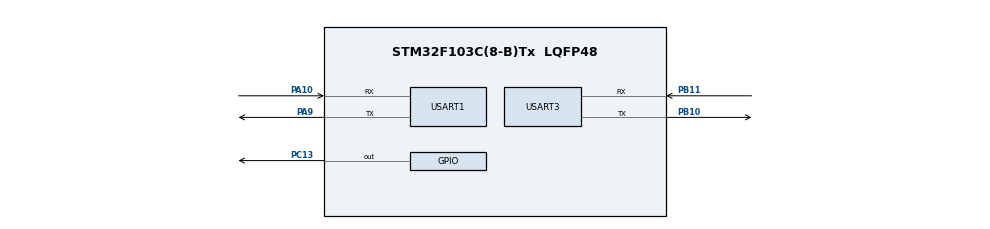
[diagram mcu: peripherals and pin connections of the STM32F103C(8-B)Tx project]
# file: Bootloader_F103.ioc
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Mcu.Family=STM32F1
Mcu.Name=STM32F103C(8-B)Tx
Mcu.Package=LQFP48
NVIC.PriorityGroup=NVIC_PRIORITYGROUP_4
PA10.Mode=Asynchronous
PA10.Signal=USART1_RX
PA9.Mode=Asynchronous
PA9.Signal=USART1_TX
PB10.Mode=Asynchronous
PB10.Signal=USART3_TX
PB11.Mode=Asynchronous
PB11.Signal=USART3_RX
PC13-TAMPER-RTC.Signal=GPIO_Output
ProjectManager.HeapSize=0x200
ProjectManager.StackSize=0x400
ProjectManager.TargetToolchain=STM32CubeIDE
RCC.APB1Freq_Value=8000000
RCC.APB2Freq_Value=8000000
USART1.VirtualMode=VM_ASYNC
USART3.VirtualMode=VM_ASYNC
board=custom

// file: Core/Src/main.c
/* USER CODE BEGIN Header */
/**
  ******************************************************************************
  * @file           : main.c
  * @brief          : Main program body
  ******************************************************************************
  * @attention
  *
  * Copyright (c) 2023 STMicroelectronics.
  * All rights reserved.
  *
  * This software is licensed under terms that can be found in the LICENSE file
  * in the root directory of this software component.
  * If no LICENSE file comes with this software, it is provided AS-IS.
  *
  ******************************************************************************
  */
/* USER CODE END Header */
#include "main.h"

/* USER CODE BEGIN Includes */
#include <stdio.h>
#include <string.h>
#include <stdbool.h>
/* USER CODE END Includes */

/* USER CODE BEGIN PD */
#define MAX_BLOCK_SIZE          ( 1024 )                  //1KB
#define ETX_APP_START_ADDRESS   0x08004400
/* USER CODE END PD */

/* USER CODE BEGIN PM */
#define MAJOR 1
#define MINOR 0
/* USER CODE END PM */

UART_HandleTypeDef huart1;
UART_HandleTypeDef huart3;

/* USER CODE BEGIN PV */
uint8_t BL_Version[2] = { MAJOR, MINOR };
uint16_t application_size = 0;
uint16_t application_write_idx = 0;
/* USER CODE END PV */

void SystemClock_Config(void);
static void MX_GPIO_Init(void);
static void MX_USART1_UART_Init(void);
static void MX_USART3_UART_Init(void);
/* USER CODE BEGIN PFP */
static void goto_application( void );
static void Firmware_Update( void );
/* USER CODE END PFP */

int main(void)
{

  /* MCU Configuration--------------------------------------------------------*/

  /* Reset of all peripherals, Initializes the Flash interface and the Systick. */
  HAL_Init();

  /* Configure the system clock */
  SystemClock_Config();

  /* Initialize all configured peripherals */
  MX_GPIO_Init();
  MX_USART1_UART_Init();
  MX_USART3_UART_Init();
  /* USER CODE BEGIN 2 */
  printf("Bootloader v%d:%d Started!!!\n", BL_Version[0], BL_Version[1]);
  /* USER CODE END 2 */

  /* Infinite loop */
  /* USER CODE BEGIN WHILE */

  Firmware_Update();

  // Jump to application
  goto_application();

  while (1)
  {
    /* USER CODE END WHILE */

  }
}

void SystemClock_Config(void)
{
  RCC_OscInitTypeDef RCC_OscInitStruct = {0};
  RCC_ClkInitTypeDef RCC_ClkInitStruct = {0};

  /** Initializes the RCC Oscillators according to the specified parameters
  * in the RCC_OscInitTypeDef structure.
  */
  RCC_OscInitStruct.OscillatorType = RCC_OSCILLATORTYPE_HSI;
  RCC_OscInitStruct.HSIState = RCC_HSI_ON;
  RCC_OscInitStruct.HSICalibrationValue = RCC_HSICALIBRATION_DEFAULT;
  RCC_OscInitStruct.PLL.PLLState = RCC_PLL_NONE;
  if (HAL_RCC_OscConfig(&RCC_OscInitStruct) != HAL_OK)
  {
    Error_Handler();
  }

  /** Initializes the CPU, AHB and APB buses clocks
  */
  RCC_ClkInitStruct.ClockType = RCC_CLOCKTYPE_HCLK|RCC_CLOCKTYPE_SYSCLK
                              |RCC_CLOCKTYPE_PCLK1|RCC_CLOCKTYPE_PCLK2;
  RCC_ClkInitStruct.SYSCLKSource = RCC_SYSCLKSOURCE_HSI;
  RCC_ClkInitStruct.AHBCLKDivider = RCC_SYSCLK_DIV1;
  RCC_ClkInitStruct.APB1CLKDivider = RCC_HCLK_DIV1;
  RCC_ClkInitStruct.APB2CLKDivider = RCC_HCLK_DIV1;

  if (HAL_RCC_ClockConfig(&RCC_ClkInitStruct, FLASH_LATENCY_0) != HAL_OK)
  {
    Error_Handler();
  }
}

static void MX_USART1_UART_Init(void)
{

  huart1.Instance = USART1;
  huart1.Init.BaudRate = 115200;
  huart1.Init.WordLength = UART_WORDLENGTH_8B;
  huart1.Init.StopBits = UART_STOPBITS_1;
  huart1.Init.Parity = UART_PARITY_NONE;
  huart1.Init.Mode = UART_MODE_TX_RX;
  huart1.Init.HwFlowCtl = UART_HWCONTROL_NONE;
  huart1.Init.OverSampling = UART_OVERSAMPLING_16;
  if (HAL_UART_Init(&huart1) != HAL_OK)
  {
    Error_Handler();
  }

}

static void MX_USART3_UART_Init(void)
{

  huart3.Instance = USART3;
  huart3.Init.BaudRate = 115200;
  huart3.Init.WordLength = UART_WORDLENGTH_8B;
  huart3.Init.StopBits = UART_STOPBITS_1;
  huart3.Init.Parity = UART_PARITY_NONE;
  huart3.Init.Mode = UART_MODE_TX_RX;
  huart3.Init.HwFlowCtl = UART_HWCONTROL_NONE;
  huart3.Init.OverSampling = UART_OVERSAMPLING_16;
  if (HAL_UART_Init(&huart3) != HAL_OK)
  {
    Error_Handler();
  }

}

static void MX_GPIO_Init(void)
{
  GPIO_InitTypeDef GPIO_InitStruct = {0};

  /* GPIO Ports Clock Enable */
  __HAL_RCC_GPIOC_CLK_ENABLE();
  __HAL_RCC_GPIOB_CLK_ENABLE();
  __HAL_RCC_GPIOA_CLK_ENABLE();

  /*Configure GPIO pin Output Level */
  HAL_GPIO_WritePin(GPIOC, GPIO_PIN_13, GPIO_PIN_RESET);

  /*Configure GPIO pin : PC13 */
  GPIO_InitStruct.Pin = GPIO_PIN_13;
  GPIO_InitStruct.Mode = GPIO_MODE_OUTPUT_PP;
  GPIO_InitStruct.Pull = GPIO_NOPULL;
  GPIO_InitStruct.Speed = GPIO_SPEED_FREQ_LOW;
  HAL_GPIO_Init(GPIOC, &GPIO_InitStruct);

}

/* USER CODE BEGIN 4 */

#ifdef __GNUC__
  /* With GCC, small printf (option LD Linker->Libraries->Small printf
     set to 'Yes') calls __io_putchar() */
int __io_putchar(int ch)
#else
int fputc(int ch, FILE *f)
#endif /* __GNUC__ */
{
  /* Place your implementation of fputc here */
  /* e.g. write a character to the UART3 and Loop until the end of transmission */
  HAL_UART_Transmit(&huart1, (uint8_t *)&ch, 1, HAL_MAX_DELAY);

  return ch;
}

/*
 * @brief Send 'g' and wait for receive 'r' or timeout
 * @retval ret: 1 for received 'r', 0 for timeout
 * */
static int UART_Write_Loop( void )
{
  char tx = 'g';
  char rx = '0';
  HAL_StatusTypeDef ex;
  int ret = 0;
  int count = 0;

  while(1)
  {
    //Toggle GPIO
    HAL_GPIO_TogglePin(GPIOC, GPIO_PIN_13);

    HAL_UART_Transmit(&huart3, (uint8_t *)&tx, 1, HAL_MAX_DELAY);

    ex = HAL_UART_Receive(&huart3, (uint8_t *)&rx, 1, 10);

    if( ( ex == HAL_OK ) && ( rx == 'r' ) )
    {
      //received data
      printf("Firmware Update Started\r\n");
      ret = 1;
      break;
    }

    if( count == 100 )
    {
      //received nothing
      printf("No Data Received for Firmware Update\r\n");
      break;
    }
    count++;
    HAL_Delay(20);              //20ms delay
  }

  return ret;
}

/**
  * @brief Write data to the Application's actual flash location.
  * @param[in] data data to be written
  * @param[in] data_len data length
  * @is_first_block[in] true - if this is first block, false - not first block
  * @retval HAL_StatusTypeDef
  */
static HAL_StatusTypeDef write_data_to_flash_app( uint8_t *data,
                                        uint16_t data_len, bool is_first_block )
{
  HAL_StatusTypeDef ret;
  static uint32_t nbr_bytes_written = 0;

  do
  {
    ret = HAL_FLASH_Unlock();
    if( ret != HAL_OK )
    {
      break;
    }

    //No need to erase every time. Erase only the first time.
    if( is_first_block )
    {
      printf("Erasing the Flash memory...\r\n");
      //Erase the Flash
      FLASH_EraseInitTypeDef EraseInitStruct;
      uint32_t SectorError;

      EraseInitStruct.TypeErase     = FLASH_TYPEERASE_PAGES;
      EraseInitStruct.PageAddress   = ETX_APP_START_ADDRESS;
      EraseInitStruct.NbPages       = 47;                     //47 Pages

      ret = HAL_FLASHEx_Erase( &EraseInitStruct, &SectorError );
      if(SectorError != 0xFFFFFFFF)
      {
    	  printf("Flash Erase ERROR\r\n");
    	  break;
      }
      if( ret != HAL_OK )
      {
        break;
      }
      printf("Flash Erased!\r\n");
      application_write_idx = 0;
    }

    //uint16_t new_len = (data_len % 8) ? (data_len/8 + 1) : data_len/8;

    for(int i = 0; i < data_len/8 ; i++)
    {
      uint64_t halfword_data = 	data[i * 8] |
    		  	  	  	  	   ((uint64_t)(data[i * 8 + 1]) << 8)	|
							   ((uint64_t)(data[i * 8 + 2]) << 16)	|
							   ((uint64_t)(data[i * 8 + 3]) << 24)	|
							   ((uint64_t)(data[i * 8 + 4]) << 32)	|
							   ((uint64_t)(data[i * 8 + 5]) << 40)	|
							   ((uint64_t)(data[i * 8 + 6]) << 48)	|
							   ((uint64_t)(data[i * 8 + 7]) << 56);

      ret = HAL_FLASH_Program( FLASH_TYPEPROGRAM_DOUBLEWORD,
                               (ETX_APP_START_ADDRESS + application_write_idx ),
                               halfword_data
                             );
      if( ret == HAL_OK )
      {
        //update the data count
        application_write_idx += 8;
      }
      else
      {
        printf("Flash Write Error...HALT!!!\r\n");
        break;
      }
    }// end for

    if( ret != HAL_OK )
    {
      break;
    }

    ret = HAL_FLASH_Lock();
    if( ret != HAL_OK )
    {
      break;
    }
  }while( false );

  nbr_bytes_written += data_len;
  printf("Written %ld bytes\n", nbr_bytes_written);

  return ret;
}

/**
  * @brief Check for Firmware Update and update the Firmware
  * @retval None
  */
static void Firmware_Update(void)
{
  uint8_t xx,yy;
  uint8_t x = 'x';
  uint8_t y = 'y';
  HAL_StatusTypeDef ex = HAL_OK;
  uint16_t current_app_size = 0;
  uint16_t i = 0;

  uint8_t block[MAX_BLOCK_SIZE] = { 0 };

  do
  {
    if( UART_Write_Loop() != 0 )
    {
      //Sender is ready. Receive the Firmware Size

      // Ask yy
      HAL_UART_Transmit(&huart3, &y, 1, HAL_MAX_DELAY);
      ex = HAL_UART_Receive(&huart3, &yy, 1, 5000);
      if( ex != HAL_OK )
      {
        printf("Get application Size error (yy)...HALT!!!\r\n");
        break;
      }

      // Ask xx
      HAL_UART_Transmit(&huart3, &x, 1, HAL_MAX_DELAY);
      ex = HAL_UART_Receive(&huart3, &xx, 1, 5000);
      if( ex != HAL_OK )
      {
        printf("Get application Size error(XX)...HALT!!!\r\n");
        break;
      }

      application_size = yy | (xx << 8);
      printf("Application Size = %d bytes\r\n", application_size);

      while(1)
      {
        if( ( i == MAX_BLOCK_SIZE ) || ( current_app_size >= application_size) )
        {
          printf("Received Block[%d]\r\n", current_app_size/MAX_BLOCK_SIZE);

          //write to flash
          i = (i % 8) ? i + 8 - (i%8) : i; // The last block
          ex = write_data_to_flash_app(block, i, (current_app_size <= MAX_BLOCK_SIZE) ); //TODO i instead of MAX_B

          if( ex != HAL_OK )
          {
            break;
          }

          //clear the memory
          memset(block, 0,MAX_BLOCK_SIZE);
          i = 0;
        }

        if( current_app_size >= application_size)
        {
          //received all data. exit
          ex = HAL_OK;
          break;
        }

        // Ask yy
        HAL_UART_Transmit(&huart3, &y, 1, HAL_MAX_DELAY);
        ex = HAL_UART_Receive(&huart3, &yy, 1, 5000);
        if( ex != HAL_OK )
        {
          printf("Get application data[index:%d] error (yy)...HALT!!!\r\n", i);
          break;
        }

        // Ask xx
        HAL_UART_Transmit(&huart3, &x, 1, HAL_MAX_DELAY);
        ex = HAL_UART_Receive(&huart3, &xx, 1, 5000);
        if( ex != HAL_OK )
        {
          printf("Get application data[index:%d] error(XX)...HALT!!!\r\n", i);
          break;
        }

        //--- Save xxyy in block[i]
        block[i++] = yy;
        block[i++] = xx;
        current_app_size += 2;
      }
    }
  }
  while( false );

  if( ex != HAL_OK )
  {
    while(1);
  }
}

static void goto_application( void )
{
	printf("Gonna Jump to Application...\n");
	void (*app_reset_handler)(void) = (void*)(*((volatile uint32_t*)(ETX_APP_START_ADDRESS + 4U)));

	if( app_reset_handler == (void*)0xFFFFFFFF )
	{
	  printf("Invalid Application... HALT!!!\r\n");
	  while(1);
	}

	__set_MSP(*(volatile uint32_t*) ETX_APP_START_ADDRESS);

	// Turn OFF the Led to tell the user that Bootloader is not running
  HAL_GPIO_WritePin(GPIOC, GPIO_PIN_13, GPIO_PIN_RESET );

	app_reset_handler();    //call the app reset handler
}

/* USER CODE END 4 */

void Error_Handler(void)
{
  __disable_irq();
  while (1)
  {
  }
}
